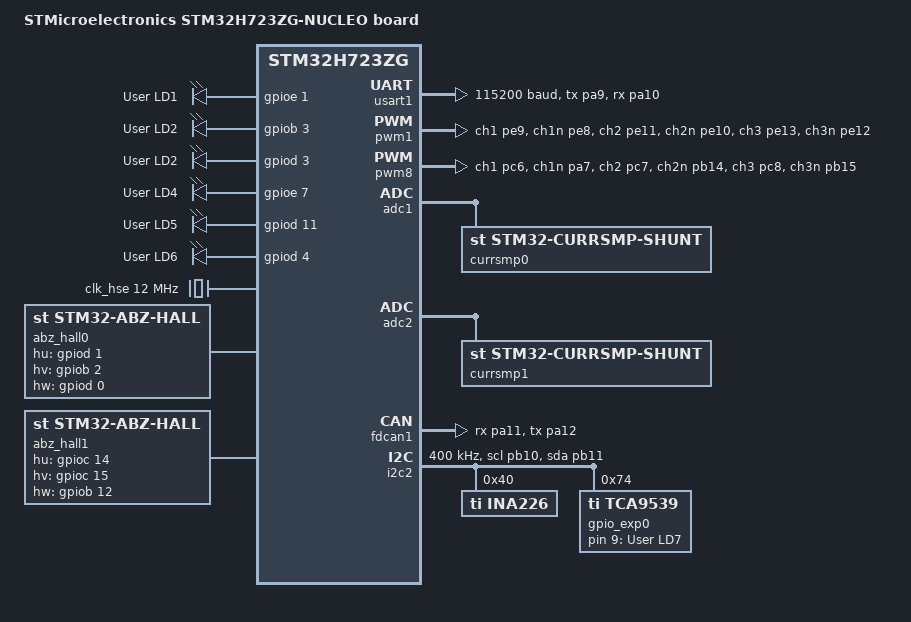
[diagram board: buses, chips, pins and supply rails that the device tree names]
/*
 * Copyright (c) 2020 Alexander Kozhinov <ak.alexander.kozhinov@gmail.com>
 * SPDX-License-Identifier: Apache-2.0
 */

/dts-v1/;
#include <st/h7/stm32h723Xg.dtsi>
#include <st/h7/stm32h723vgtx-pinctrl.dtsi>

/*
 * WARNING:
 * JP6 and SB72 must be ON when using Ethernet.
 */

/ {
	model = "STMicroelectronics STM32H723ZG-NUCLEO board";
	compatible = "st,stm32h723zg-nucleo";

	chosen {
		zephyr,console = &usart1;
		zephyr,shell-uart = &usart1;
		zephyr,dtcm = &dtcm;
		zephyr,sram = &sram0;
		zephyr,flash = &flash0;
		zephyr,canbus = &fdcan1;
	};

	leds: leds {
		compatible = "gpio-leds";
		

		green_led: led_0 {
			gpios = <&gpioe 1 GPIO_ACTIVE_HIGH>;
			label = "User LD1";
		};
		mot12_brk_pin: led_1 {
			gpios = <&gpiob 3 GPIO_ACTIVE_HIGH>;
			label = "User LD2";
		};
		encoder_vcc: led_2 {
			gpios = <&gpiod 3 GPIO_ACTIVE_HIGH>;
			label = "User LD2";
		};	
		wdog: led_3 {
			gpios = <&gpioe 7 GPIO_ACTIVE_HIGH>;
			label = "User LD4";
		};				
		proximity_switch:led_4{
			gpios = <&gpiod 11 GPIO_ACTIVE_HIGH>;
			label = "User LD5";
		};
		stopbutton:led_5{
			gpios = <&gpiod 4 GPIO_ACTIVE_HIGH>;
			label = "User LD6";
		};
		run_led: led_6 {
			gpios = <&gpio_exp0 9 GPIO_ACTIVE_HIGH>;
			label = "User LD7";
		};	
	};

	aliases {
		led0 = &green_led;
	};
    motors {
        motor0: motor_0 {
			compatible = "motor-bldc";
			control-algorithm = <&foc0>;
			feedback = <&abz_hall0>;  // 添加feedback属性
			currsmp = <&currsmp0>;
			pwm = <&pwm1>;
			status = "okay";
        };
        motor1: motor_1 {
			compatible = "motor-bldc";
			control-algorithm = <&foc1>;
			feedback = <&abz_hall1>;  // 添加feedback属      
			currsmp = <&currsmp1>;
			pwm = <&pwm8>;			
		    status = "disabled";
        };
    };
	control_algorithm {
		foc0:ctrl_algo0{
			compatible = "foc-ctrl-algo";
			modulate = <1>;
			status = "okay";
		};
		foc1:ctrl_algo1{
			compatible = "foc-ctrl-algo";
			modulate = <0>;
			status = "okay";
		};
	};
};

&clk_lsi {
	status = "okay";
};

&clk_hsi48 {
	status = "okay";
};

&clk_hse {
	clock-frequency = <DT_FREQ_M(12)>; /* STLink 12MHz clock */
	status = "okay";
};

&clk_lse {
	status = "disabled";
};

&pll {
	div-m = <6>;
	mul-n = <275>;
	div-p = <1>;
	div-q = <4>;
	div-r = <2>;
	clocks = <&clk_hse>;
	status = "okay";
};

&pll2 {
	div-m = <1>;
	mul-n = <10>;
	div-p = <1>;
	div-q = <1>;
	div-r = <1>;
	clocks = <&clk_hse>;
	status = "okay";
};

&rcc {
	clocks = <&pll>;
	clock-frequency = <DT_FREQ_M(550)>;
	d1cpre = <1>;
	hpre = <2>;    /* HCLK: 275   MHz */
	d1ppre = <2>;  /* APB1: 137.5 MHz */
	d2ppre1 = <2>; /* APB2: 137.5 MHz */
	d2ppre2 = <2>; /* APB3: 137.5 MHz */
	d3ppre = <2>;  /* APB4: 137.5 MHz */
};


&usart1 {
	pinctrl-0 = <&usart1_tx_pa9 &usart1_rx_pa10>;
	pinctrl-names = "default";
	current-speed = <115200>;
	status = "okay";
};

&timers1 {
    pwm1: pwm {
        compatible = "st,stm32-pwm-custom";
        pinctrl-0 = <&tim1_ch1_pe9  &tim1_ch1n_pe8
                    &tim1_ch2_pe11 &tim1_ch2n_pe10
                    &tim1_ch3_pe13 &tim1_ch3n_pe12>;
        pinctrl-names = "default";
        timing-params = <120 13750 0>;  // t_dead_ns, arr, psc
        slave = <0>;
        status = "okay";
    };
};

&timers8 {
    pwm8: pwm {
        compatible = "st,stm32-pwm-custom";
        pinctrl-0 = <&tim8_ch1_pc6 &tim8_ch1n_pa7
                    &tim8_ch2_pc7 &tim8_ch2n_pb14
                    &tim8_ch3_pc8 &tim8_ch3n_pb15>;
        pinctrl-names = "default";
        timing-params = <120 13750 0>;  // t_dead_ns, arr, psc
        slave = <1>;
        status = "okay";
    };
};


&timers4 {
	abz_hall0: abz_hall {
		compatible = "st,stm32-abz-hall";
		pinctrl-0 = <&tim4_ch1_pb6 &tim4_ch2_pb7>;
		pinctrl-names = "default";		
		lines = <4096>;
		pole-pairs = <15>;
		hu-gpios = <&gpiod 1 GPIO_ACTIVE_HIGH>;
		hv-gpios = <&gpiob 2 GPIO_ACTIVE_HIGH>;
		hw-gpios = <&gpiod 0 GPIO_ACTIVE_HIGH>;		
		
		status = "okay";
	};	

};
&timers3 {
	abz_hall1: abz_hall {
		compatible = "st,stm32-abz-hall";
		pinctrl-0 = <&tim3_ch1_pb4 &tim3_ch2_pb5>;
		pinctrl-names = "default";


		lines = <4096>;
		pole-pairs = <15>;
		hu-gpios = <&gpioc 14 GPIO_ACTIVE_HIGH>;
		hv-gpios = <&gpioc 15 GPIO_ACTIVE_HIGH>;
		hw-gpios = <&gpiob 12 GPIO_ACTIVE_HIGH>;		
		status = "okay";
	};
};

&adc1 {
	currsmp0: currsmp {
		compatible = "st,stm32-currsmp-shunt";
		pinctrl-0 = <&adc1_inp15_pa3  &adc1_inp4_pc4 &adc1_inp16_pa0  &adc1_inp17_pa1 &adc1_inp14_pa2>;
		pinctrl-names = "default";
		adc-channels = <15 4 16 17 14>;
		adc-slave = <0>;
		status = "okay";
	};
};

&adc2 {
	currsmp1: currsmp {
		compatible = "st,stm32-currsmp-shunt";
		pinctrl-0 = <&adc2_inp8_pc5  &adc2_inp9_pb0 &adc2_inp5_pb1>;
		pinctrl-names = "default";
		adc-channels = <8 9 5>;
		adc-slave = <1>;
		status = "okay";
	};
};

&backup_sram {
	status = "okay";
};

&fdcan1 {
	pinctrl-0 = <&fdcan1_rx_pa11 &fdcan1_tx_pa12>;
	pinctrl-names = "default";
	clocks = <&rcc STM32_CLOCK_BUS_APB1_2 0x00000100>,
		 <&rcc STM32_SRC_PLL2_Q FDCAN_SEL(2)>;
	status = "okay";
};
&i2c2 {
	pinctrl-0 = <&i2c2_scl_pb10 &i2c2_sda_pb11>;
	pinctrl-names = "default";
	status = "okay";
	clock-frequency = <I2C_BITRATE_FAST>;

	ina226@40 {
		compatible = "ti,ina226";
		reg = <0x40>;
		
		current-lsb-microamps = <610>;
		rshunt-micro-ohms = <2000>;
		
		/* 优化配置 */
		avg-count = <16>;
		vbus-conversion-time-us = <1100>;
		vshunt-conversion-time-us = <1100>;
		operating-mode = "Shunt and Bus, Continuous";
	};
	gpio_exp0: tca9539@74 {
		compatible = "ti,tca9539";
		reg = <0x74>;
		gpio-controller;
		#gpio-cells = <2>;
		ngpios = <16>;
		status = "okay";
	};	
};
